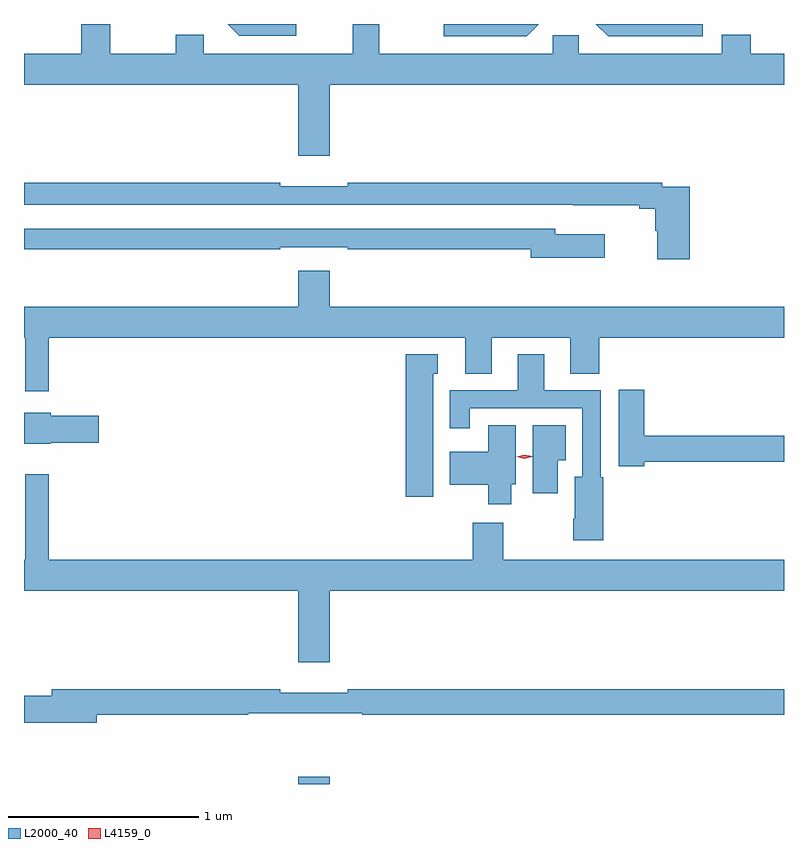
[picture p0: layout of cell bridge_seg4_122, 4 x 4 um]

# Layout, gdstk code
import gdstk
lib = gdstk.Library(unit=1e-6, precision=1e-09)
def R(c, l, rs):  # rectangles x0, y0, x1, y1
    for r in rs: c.add(gdstk.rectangle(r[:2], r[2:], *l))
def P(c, l, *ps):  # polygons
    for p in ps: c.add(gdstk.Polygon(p, *l))
L2000_40 = (2000, 40)
L4159_0 = (4159, 0)

bridge_seg4_122 = lib.new_cell('bridge_seg4_122')
R(bridge_seg4_122, L2000_40, [(224.948,774.492,225.112,774.529)])
P(bridge_seg4_122, L2000_40, [(227.076,778.492),(226.514,778.492),(226.579,778.427),(227.076,778.427)],
  [(226.213,778.492),(225.714,778.492),(225.714,778.428),(226.149,778.428)],
  [(224.938,778.492),(224.577,778.492),(224.637,778.431),(224.938,778.431)],
  [(225.112,778.172),(227.504,778.172),(227.504,778.336),(227.33,778.336),(227.33,778.435),(227.177,778.435),(227.177,778.336),(226.425,778.336),(226.425,778.434),(226.287,778.434),(226.287,778.336),(225.373,778.336),(225.373,778.492),(225.233,778.492),(225.233,778.336),(224.449,778.336),(224.449,778.435),(224.302,778.435),(224.302,778.336),(223.957,778.336),(223.957,778.492),(223.805,778.492),(223.805,778.336),(223.504,778.336),(223.504,778.172),(224.948,778.172),(224.948,777.798),(225.112,777.798)],
  [(227.009,777.636),(226.862,777.636),(226.862,777.656),(225.208,777.656),(225.208,777.637),(224.852,777.637),(224.852,777.656),(223.504,777.656),(223.504,777.54),(226.396,777.54),(226.396,777.539),(226.742,777.539),(226.742,777.52),(226.826,777.52),(226.826,777.405),(226.838,777.405),(226.838,777.255),(227.009,777.255)],
  [(226.561,777.385),(226.3,777.385),(226.3,777.414),(223.504,777.414),(223.504,777.306),(224.852,777.306),(224.852,777.318),(225.208,777.318),(225.208,777.306),(226.172,777.306),(226.172,777.263),(226.561,777.263)],
  [(223.633,776.84),(225.827,776.84),(225.827,776.65),(225.967,776.65),(225.967,776.84),(226.379,776.84),(226.379,776.65),(226.532,776.65),(226.532,776.84),(227.504,776.84),(227.504,777.004),(225.112,777.004),(225.112,777.193),(224.948,777.193),(224.948,777.004),(223.504,777.004),(223.504,776.84),(223.511,776.84),(223.511,776.559),(223.633,776.559)],
  [(226.553,776.106),(226.539,776.106),(226.539,776.565),(226.243,776.565),(226.243,776.755),(226.103,776.755),(226.103,776.565),(225.746,776.565),(225.746,776.364),(225.85,776.364),(225.85,776.469),(226.443,776.469),(226.443,776.11),(226.403,776.11),(226.403,775.888),(226.396,775.888),(226.396,775.776),(226.553,775.776)],
  [(225.658,776.652),(225.682,776.652),(225.682,776.755),(225.512,776.755),(225.512,776.004),(225.658,776.004)],
  [(226.769,776.188),(227.504,776.188),(227.504,776.324),(226.769,776.324),(226.769,776.566),(226.634,776.566),(226.634,776.165),(226.769,776.165)],
  [(223.644,776.288),(223.897,776.288),(223.897,776.43),(223.644,776.43),(223.644,776.446),(223.504,776.446),(223.504,776.282),(223.644,776.282)],
  [(226.312,776.195),(226.354,776.195),(226.354,776.38),(226.181,776.38),(226.181,776.022),(226.312,776.022)],
  [(226.069,776.07),(226.093,776.07),(226.093,776.38),(225.947,776.38),(225.947,776.242),(225.746,776.242),(225.746,776.066),(225.947,776.066),(225.947,775.964),(226.069,775.964)],
  [(225.112,775.508),(227.504,775.508),(227.504,775.672),(226.026,775.672),(226.026,775.867),(225.866,775.867),(225.866,775.672),(223.633,775.672),(223.633,776.122),(223.511,776.122),(223.511,775.672),(223.504,775.672),(223.504,775.508),(224.948,775.508),(224.948,775.134),(225.112,775.134)],
  [(223.888,774.856),(224.684,774.856),(224.684,774.864),(225.284,774.864),(225.284,774.856),(227.504,774.856),(227.504,774.992),(225.208,774.992),(225.208,774.973),(224.852,774.973),(224.852,774.992),(223.649,774.992),(223.649,774.956),(223.504,774.956),(223.504,774.814),(223.888,774.814)])
P(bridge_seg4_122, L4159_0, [(226.138,776.205),(226.098,776.214),(226.097,776.214),(226.098,776.214),(226.137,776.224),(226.178,776.216),(226.178,776.215),(226.178,776.215)])

lib.write_gds('bridge_seg4_122.gds')
